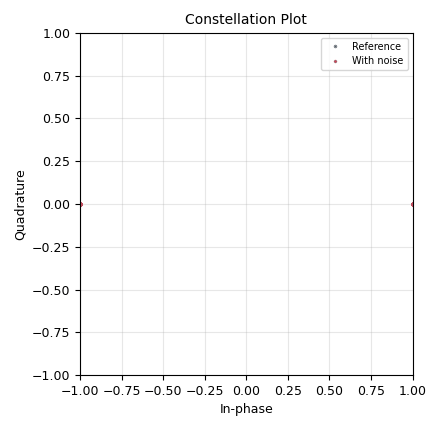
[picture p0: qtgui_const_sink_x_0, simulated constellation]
options:
  parameters:
    author: zoe
    category: Custom
    generate_options: qt_gui
    id: lab4_2
    output_language: python
  states: {}

blocks:
- name: amp
  id: variable_qtgui_range
  parameters:
    label: Noise Power
    start: '0'
    step: '0.01'
    stop: '1'
    value: '0'
  states: {}
- name: samp_rate
  id: variable
  parameters:
    value: '50000'
  states: {}
- name: vlen
  id: variable
  parameters:
    value: '16'
  states: {}
- name: analog_noise_source_x_0
  id: analog_noise_source_x
  parameters:
    amp: amp
    noise_type: analog.GR_GAUSSIAN
    seed: '0'
    type: complex
  states: {}
- name: blocks_add_xx_0
  id: blocks_add_xx
  parameters:
    type: complex
    vlen: vlen
  states: {}
- name: blocks_stream_to_vector_0
  id: blocks_stream_to_vector
  parameters:
    num_items: vlen
    type: complex
  states: {}
- name: blocks_throttle_0
  id: blocks_throttle
  parameters:
    samples_per_second: samp_rate
    type: complex
    vlen: vlen
  states: {}
- name: blocks_vector_source_x_0_0
  id: blocks_vector_source_x
  parameters:
    repeat: 'True'
    type: complex
    vector: '[1+0j, -1+0j]*8'
    vlen: '16'
  states: {}
- name: blocks_vector_to_stream_0
  id: blocks_vector_to_stream
  parameters:
    num_items: vlen
    type: complex
  states: {}
- name: blocks_vector_to_stream_0_0
  id: blocks_vector_to_stream
  parameters:
    num_items: vlen
    type: complex
  states: {}
- name: qtgui_const_sink_x_0
  id: qtgui_const_sink_x
  parameters:
    grid: 'True'
    label1: Reference
    label2: With noise
    name: '"Constellation Plot"'
    nconnections: '2'
    size: '1024'
    type: complex
    width1: '2'
    xmax: '1'
    xmin: '-1'
    ymax: '1'
    ymin: '-1'
  states: {}

connections:
- [analog_noise_source_x_0, '0', blocks_stream_to_vector_0, '0']
- [blocks_add_xx_0, '0', blocks_vector_to_stream_0_0, '0']
- [blocks_stream_to_vector_0, '0', blocks_add_xx_0, '1']
- [blocks_throttle_0, '0', blocks_add_xx_0, '0']
- [blocks_vector_source_x_0_0, '0', blocks_throttle_0, '0']
- [blocks_vector_source_x_0_0, '0', blocks_vector_to_stream_0, '0']
- [blocks_vector_to_stream_0, '0', qtgui_const_sink_x_0, '0']
- [blocks_vector_to_stream_0_0, '0', qtgui_const_sink_x_0, '1']

metadata:
  file_format: 1
  grc_version: 3.10.5.1
